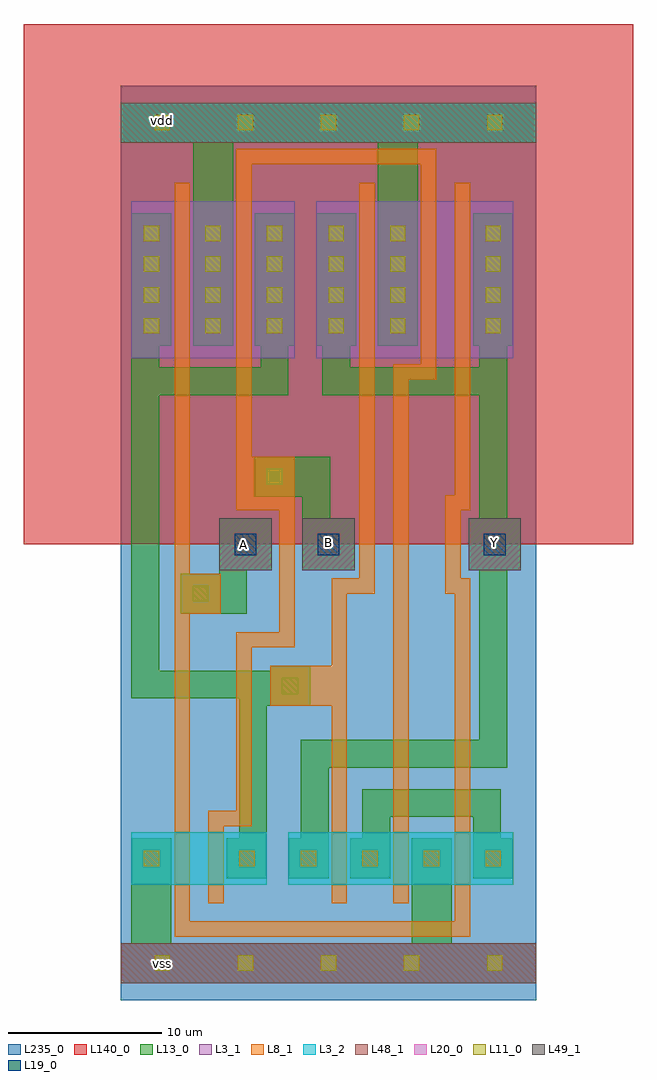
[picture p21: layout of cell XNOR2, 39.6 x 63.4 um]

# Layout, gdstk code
import gdstk
lib = gdstk.Library(unit=1e-6, precision=1e-09)
def R(c, l, rs):  # rectangles x0, y0, x1, y1
    for r in rs: c.add(gdstk.rectangle(r[:2], r[2:], *l))
def A(c, l, x, y, w, h, nx, ny, dx, dy):  # array of equal rectangles
    R(c, l, [(x+i*dx, y+j*dy, x+i*dx+w, y+j*dy+h) for i in range(nx) for j in range(ny)])
def P(c, l, *ps):  # polygons
    for p in ps: c.add(gdstk.Polygon(p, *l))
L3_1 = (3, 1)
L3_2 = (3, 2)
L8_1 = (8, 1)
L11_0 = (11, 0)
L13_0 = (13, 0)
L19_0 = (19, 0)
L20_0 = (20, 0)
L48_1 = (48, 1)
L49_1 = (49, 1)
L140_0 = (140, 0)
L235_0 = (235, 0)

xnor2 = lib.new_cell('XNOR2')
R(xnor2, L3_1, [(0,1.1,27,3.7), (0.7,41.7,11.3,51.9), (12.7,41.7,16.7,51.9), (16.7,41.7,25.5,51.9)])
R(xnor2, L3_2, [(0.7,7.5,9.5,10.9), (10.9,7.5,14.9,10.9), (14.9,7.5,25.5,10.9), (0,55.7,27,58.3)])
P(xnor2, L8_1, [(13.7,6.3),(13.7,19.1),(9.7,19.1),(9.7,21.7),(13.7,21.7),(13.7,27.4),(15.5,27.4),(15.5,53.1),(16.5,53.1),(16.5,26.4),(14.7,26.4),(14.7,6.3)],
  [(3.5,4.1),(3.5,53.1),(4.5,53.1),(4.5,27.7),(6.5,27.7),(6.5,25.1),(4.5,25.1),(4.5,5.1),(21.7,5.1),(21.7,26.4),(21.1,26.4),(21.1,32.8),(21.7,32.8),(21.7,53.1),(22.7,53.1),(22.7,31.8),(22.1,31.8),(22.1,27.4),(22.7,27.4),(22.7,4.1)],
  [(5.7,6.3),(5.7,12.3),(7.5,12.3),(7.5,23.9),(10.3,23.9),(10.3,31.8),(7.5,31.8),(7.5,55.3),(20.5,55.3),(20.5,40.3),(18.7,40.3),(18.7,6.3),(17.7,6.3),(17.7,41.3),(19.5,41.3),(19.5,54.3),(8.5,54.3),(8.5,35.3),(11.3,35.3),(11.3,22.9),(8.5,22.9),(8.5,11.3),(6.7,11.3),(6.7,6.3)])
A(xnor2, L11_0, 2.2, 1.9, 1, 1, 5, 2, 5.4, 54.6)
A(xnor2, L11_0, 7.7, 8.7, 1, 1, 5, 1, 4, 0)
A(xnor2, L11_0, 1.5, 43.3, 1, 1, 5, 4, 4, 2)
A(xnor2, L11_0, 23.7, 43.3, 1, 1, 1, 4, 0, 2)
R(xnor2, L11_0, [(1.5,8.7,2.5,9.7), (7.7,8.7,8.7,9.7), (10.5,19.9,11.5,20.9), (4.7,25.9,5.7,26.9), (9.5,33.5,10.5,34.5)])
R(xnor2, L13_0, [(0,1.1,27,3.7), (0.7,3.7,3.3,10.5), (18.9,3.7,21.5,10.5), (4.7,42.5,7.3,55.7), (16.7,42.5,19.3,55.7), (0,55.7,27,58.3)])
P(xnor2, L13_0, [(6.9,7.9),(6.9,10.5),(7.7,10.5),(7.7,19.6),(0.7,19.6),(0.7,51.1),(3.3,51.1),(3.3,42.5),(2.5,42.5),(2.5,41.1),(9.1,41.1),(9.1,42.5),(8.7,42.5),(8.7,51.1),(11.3,51.1),(11.3,42.5),(10.9,42.5),(10.9,39.3),(2.5,39.3),(2.5,21.4),(9.7,21.4),(9.7,21.7),(12.3,21.7),(12.3,19.1),(9.5,19.1),(9.5,7.9)],
  [(10.9,7.9),(10.9,10.5),(11.7,10.5),(11.7,16.9),(23.3,16.9),(23.3,27.9),(22.6,27.9),(22.6,31.3),(23.3,31.3),(23.3,42.5),(25.1,42.5),(25.1,31.3),(26,31.3),(26,27.9),(25.1,27.9),(25.1,15.1),(13.5,15.1),(13.5,7.9)],
  [(13.1,39.3),(13.1,42.5),(12.7,42.5),(12.7,51.1),(15.3,51.1),(15.3,42.5),(14.9,42.5),(14.9,41.1),(23.3,41.1),(23.3,42.5),(22.9,42.5),(22.9,51.1),(25.5,51.1),(25.5,42.5),(25.1,42.5),(25.1,39.3)],
  [(14.9,7.9),(14.9,10.5),(15.7,10.5),(15.7,13.7),(24.7,13.7),(24.7,10.5),(25.5,10.5),(25.5,7.9),(22.9,7.9),(22.9,11.9),(17.5,11.9),(17.5,7.9)],
  [(3.9,25.1),(3.9,27.7),(6.4,27.7),(6.4,31.3),(9.8,31.3),(9.8,27.9),(8.2,27.9),(8.2,25.1)],
  [(11.8,27.9),(11.8,32.7),(8.7,32.7),(8.7,35.3),(13.6,35.3),(13.6,31.3),(15.2,31.3),(15.2,27.9)])
R(xnor2, L19_0, [(7.4,28.9,8.8,30.3), (7.4,28.9,8.8,30.3), (7.4,28.9,8.8,30.3), (12.8,28.9,14.2,30.3), (12.8,28.9,14.2,30.3), (12.8,28.9,14.2,30.3), (12.8,28.9,14.2,30.3), (23.6,28.9,25,30.3), (23.6,28.9,25,30.3), (23.6,28.9,25,30.3), (23.6,28.9,25,30.3)])
R(xnor2, L20_0, [(6.4,27.9,9.8,31.3), (6.4,27.9,9.8,31.3), (6.4,27.9,9.8,31.3), (11.8,27.9,15.2,31.3), (11.8,27.9,15.2,31.3), (11.8,27.9,15.2,31.3), (11.8,27.9,15.2,31.3), (22.6,27.9,26,31.3), (22.6,27.9,26,31.3), (22.6,27.9,26,31.3), (22.6,27.9,26,31.3)])
R(xnor2, L48_1, [(0,1.1,27,3.7), (0,55.7,27,58.3)])
R(xnor2, L49_1, [(6.4,27.9,9.8,31.3), (11.8,27.9,15.2,31.3), (22.6,27.9,26,31.3)])
R(xnor2, L140_0, [(-6.3,29.6,33.3,63.4)])
R(xnor2, L235_0, [(0,0,27,59.4)])
xnor2.add(gdstk.Label('A', (8,29.6), layer=49, texttype=0))
xnor2.add(gdstk.Label('B', (13.5,29.7), layer=49, texttype=0))
xnor2.add(gdstk.Label('Y', (24.3,29.7), layer=49, texttype=0))
xnor2.add(gdstk.Label('vss', (2.7,2.4), layer=48, texttype=0))
xnor2.add(gdstk.Label('vdd', (2.7,57.1), layer=48, texttype=0))

lib.write_gds('XNOR2.gds')
